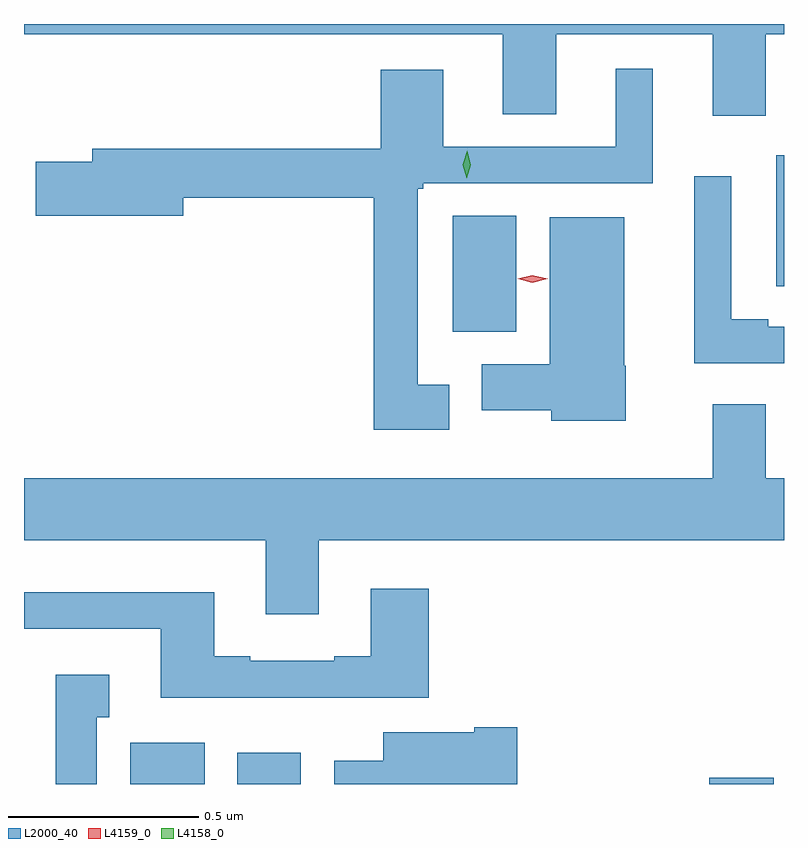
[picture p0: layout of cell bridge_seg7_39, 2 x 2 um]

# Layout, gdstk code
import gdstk
lib = gdstk.Library(unit=1e-6, precision=1e-09)
def R(c, l, rs):  # rectangles x0, y0, x1, y1
    for r in rs: c.add(gdstk.rectangle(r[:2], r[2:], *l))
def P(c, l, *ps):  # polygons
    for p in ps: c.add(gdstk.Polygon(p, *l))
L2000_40 = (2000, 40)
L4158_0 = (4158, 0)
L4159_0 = (4159, 0)

bridge_seg7_39 = lib.new_cell('bridge_seg7_39')
R(bridge_seg7_39, L2000_40, [(879.758,1041.267,879.955,1041.376), (880.04,1041.267,880.207,1041.349), (881.282,1041.267,881.452,1041.283), (880.607,1042.457,880.774,1042.763), (881.459,1042.577,881.479,1042.921)])
P(bridge_seg7_39, L2000_40, [(881.431,1043.24),(881.479,1043.24),(881.479,1043.267),(879.479,1043.267),(879.479,1043.24),(880.739,1043.24),(880.739,1043.029),(880.879,1043.029),(880.879,1043.24),(881.291,1043.24),(881.291,1043.025),(881.431,1043.025)],
  [(880.598,1042.318),(880.515,1042.318),(880.515,1042.833),(880.53,1042.833),(880.53,1042.848),(881.134,1042.848),(881.134,1043.149),(881.036,1043.149),(881.036,1042.944),(880.582,1042.944),(880.582,1043.146),(880.418,1043.146),(880.418,1042.939),(879.659,1042.939),(879.659,1042.905),(879.51,1042.905),(879.51,1042.763),(879.898,1042.763),(879.898,1042.81),(880.399,1042.81),(880.399,1042.199),(880.598,1042.199)],
  [(881.479,1042.47),(881.437,1042.47),(881.437,1042.49),(881.34,1042.49),(881.34,1042.867),(881.243,1042.867),(881.243,1042.374),(881.479,1042.374)],
  [(881.062,1042.368),(881.059,1042.368),(881.059,1042.759),(880.862,1042.759),(880.862,1042.372),(880.683,1042.372),(880.683,1042.25),(880.866,1042.25),(880.866,1042.223),(881.062,1042.223)],
  [(880.255,1041.908),(881.479,1041.908),(881.479,1042.072),(881.431,1042.072),(881.431,1042.267),(881.291,1042.267),(881.291,1042.072),(879.479,1042.072),(879.479,1041.908),(880.115,1041.908),(880.115,1041.714),(880.255,1041.714)],
  [(880.544,1041.781),(880.391,1041.781),(880.391,1041.603),(880.295,1041.603),(880.295,1041.591),(880.075,1041.591),(880.075,1041.603),(879.979,1041.603),(879.979,1041.772),(879.479,1041.772),(879.479,1041.675),(879.839,1041.675),(879.839,1041.494),(880.544,1041.494)],
  [(879.67,1041.443),(879.703,1041.443),(879.703,1041.555),(879.563,1041.555),(879.563,1041.267),(879.67,1041.267)],
  [(880.777,1041.416),(880.664,1041.416),(880.664,1041.403),(880.424,1041.403),(880.424,1041.328),(880.295,1041.328),(880.295,1041.267),(880.777,1041.267)])
P(bridge_seg7_39, L4158_0, [(880.644,1042.861),(880.644,1042.861),(880.634,1042.897),(880.645,1042.933),(880.645,1042.933),(880.645,1042.933),(880.654,1042.897),(880.644,1042.861)])
P(bridge_seg7_39, L4159_0, [(880.817,1042.586),(880.778,1042.596),(880.778,1042.596),(880.778,1042.596),(880.817,1042.606),(880.857,1042.596),(880.857,1042.596),(880.857,1042.596)])

lib.write_gds('bridge_seg7_39.gds')
